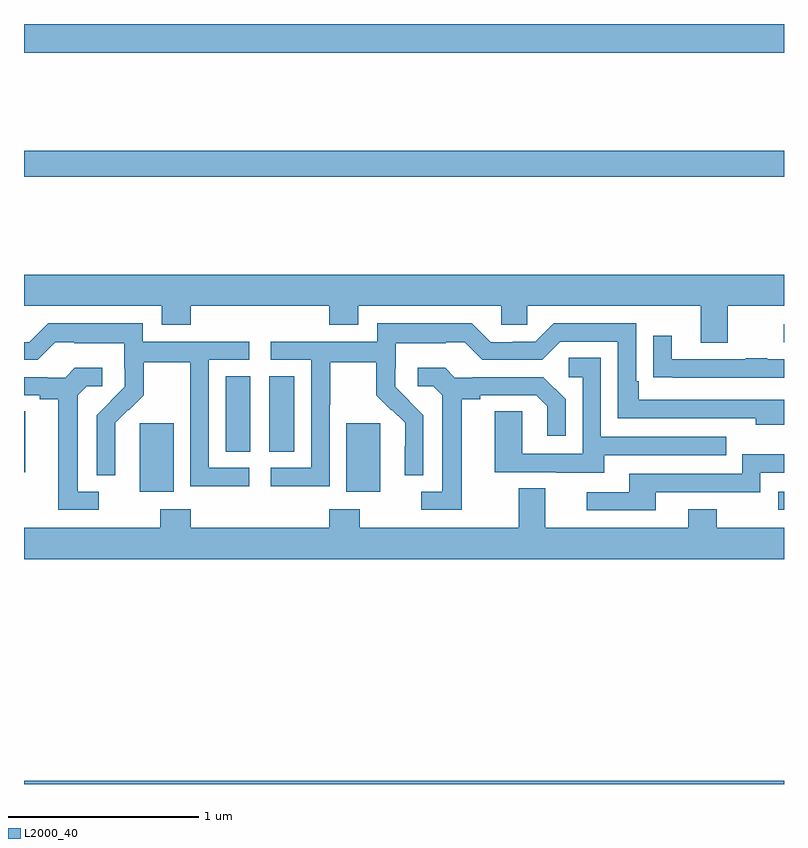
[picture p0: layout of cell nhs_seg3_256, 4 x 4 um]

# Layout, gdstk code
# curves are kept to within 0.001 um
import gdstk
lib = gdstk.Library(unit=1e-6, precision=1e-09)
def R(c, l, rs):  # rectangles x0, y0, x1, y1
    for r in rs: c.add(gdstk.rectangle(r[:2], r[2:], *l))
def P(c, l, *ps):  # polygons
    for p in ps: c.add(gdstk.Polygon(p, *l))
L2000_40 = (2000, 40)

nhs_seg3_256 = lib.new_cell('nhs_seg3_256')
R(nhs_seg3_256, L2000_40, [(123,698.4,127,698.416), (126.969,699.843,127,699.939), (123.608,699.938,123.787,700.299), (124.697,699.938,124.876,700.299), (123,700.041,123.007,700.361), (124.061,700.15,124.192,700.547), (124.292,700.15,124.423,700.547), (126.999,700.725,127,700.821), (123,701.596,127,701.732), (123,702.248,127,702.4)])
P(nhs_seg3_256, L2000_40, [(126.703,700.916),(127,700.916),(127,701.08),(123,701.08),(123,700.916),(123.725,700.916),(123.725,700.817),(123.878,700.817),(123.878,700.916),(124.607,700.916),(124.607,700.817),(124.759,700.817),(124.759,700.916),(125.511,700.916),(125.511,700.818),(125.649,700.818),(125.649,700.916),(126.563,700.916),(126.563,700.722),(126.703,700.722)],
  [(124.186,700.065),(123.972,700.065),(123.972,700.632),(124.186,700.632),(124.186,700.728),(123.624,700.728),(123.624,700.825),(123.127,700.825),(123.027,700.725),(123,700.725),(123,700.632),(123.072,700.632),(123.165,700.725),(123.265,700.725),(123.265,700.721),(123.528,700.721),(123.528,700.587),(123.53,700.587),(123.53,700.49),(123.384,700.342),(123.384,700.024),(123.48,700.024),(123.479,700.301),(123.549,700.371),(123.552,700.368),(123.629,700.445),(123.629,700.62),(123.874,700.62),(123.874,700.396),(123.876,700.396),(123.876,699.967),(124.186,699.967)],
  [(124.608,700.396),(124.611,700.396),(124.611,700.62),(124.855,700.62),(124.855,700.445),(124.932,700.368),(124.935,700.371),(125.006,700.301),(125.006,700.178),(125.004,700.178),(125.004,700.024),(125.1,700.024),(125.1,700.342),(124.954,700.49),(124.954,700.587),(124.956,700.587),(124.956,700.721),(125.219,700.721),(125.219,700.725),(125.319,700.725),(125.412,700.632),(125.727,700.632),(125.823,700.728),(126.126,700.728),(126.126,700.326),(126.851,700.326),(126.851,700.292),(127,700.292),(127,700.422),(126.235,700.422),(126.235,700.519),(126.222,700.519),(126.222,700.824),(125.787,700.824),(125.691,700.728),(125.573,700.728),(125.573,700.725),(125.457,700.725),(125.357,700.825),(124.86,700.825),(124.86,700.728),(124.299,700.728),(124.299,700.632),(124.512,700.632),(124.512,700.065),(124.299,700.065),(124.299,699.967),(124.608,699.967)],
  [(127,700.635),(126.911,700.635),(126.911,700.64),(126.799,700.64),(126.799,700.635),(126.409,700.635),(126.409,700.759),(126.313,700.759),(126.313,700.54),(126.415,700.54),(126.415,700.539),(127,700.539)],
  [(126.055,700.131),(126.695,700.131),(126.695,700.227),(126.036,700.227),(126.036,700.643),(125.868,700.643),(125.868,700.542),(125.94,700.542),(125.94,700.137),(125.622,700.137),(125.622,700.361),(125.477,700.361),(125.477,700.041),(125.801,700.041),(125.801,700.037),(126.055,700.037)],
  [(123.394,699.939),(123.283,699.939),(123.283,700.447),(123.33,700.494),(123.412,700.494),(123.412,700.591),(123.268,700.591),(123.216,700.539),(123.122,700.539),(123.122,700.542),(123,700.542),(123,700.446),(123.083,700.446),(123.083,700.424),(123.179,700.424),(123.179,699.843),(123.394,699.843)],
  [(125.305,700.424),(125.401,700.424),(125.401,700.446),(125.696,700.446),(125.753,700.389),(125.753,700.233),(125.85,700.233),(125.85,700.426),(125.734,700.542),(125.362,700.542),(125.362,700.539),(125.268,700.539),(125.216,700.591),(125.073,700.591),(125.073,700.494),(125.154,700.494),(125.201,700.447),(125.201,699.939),(125.091,699.939),(125.091,699.843),(125.305,699.843)],
  [(126.325,699.936),(126.876,699.936),(126.876,700.038),(127,700.038),(127,700.135),(126.78,700.135),(126.78,700.032),(126.185,700.032),(126.185,699.936),(125.961,699.936),(125.961,699.84),(126.325,699.84)],
  [(127,699.748),(126.645,699.748),(126.645,699.847),(126.497,699.847),(126.497,699.748),(125.743,699.748),(125.743,699.956),(125.603,699.956),(125.603,699.748),(124.767,699.748),(124.767,699.847),(124.607,699.847),(124.607,699.748),(123.878,699.748),(123.878,699.847),(123.718,699.847),(123.718,699.748),(123,699.748),(123,699.584),(127,699.584)])

lib.write_gds('nhs_seg3_256.gds')
